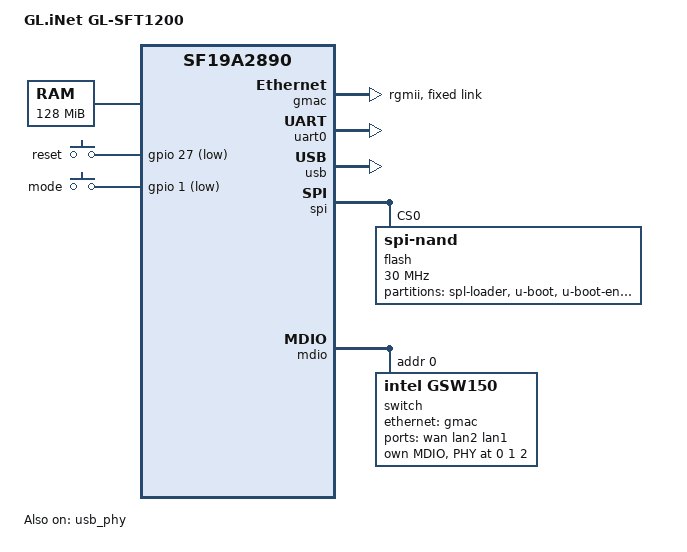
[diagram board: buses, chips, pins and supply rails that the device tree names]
// SPDX-License-Identifier: GPL-2.0-or-later OR MIT
/*
 * GL.iNet GL-SFT1200 (Opal): Siflower SF19A2890, 128 MiB RAM, 128 MiB SPI
 * NAND, a MaxLinear GSW150 switch on the GMAC's RGMII with one WAN and two
 * LAN ports, USB 2.0.
 *
 * The flash map, MACs, ports and buttons are a unit's, harvested from GL's
 * firmware 4.8.3. The switch binding is Hans Ulli Kroll's
 * sf19a2890_glinet-sft1200.dts, reported working on a unit booted from
 * initramfs, at SMI address 0 as GL's driver reaches it.
 *
 * The RGMII link between the GMAC and switch port 5 has both of its delays on
 * the SoC side, from the factory partition, as GL's driver programs them; GL's
 * switch driver clears port 5's own delays (PCDU 0xF101 reads 0 on a running
 * unit). Port 5 says so outright, below, because its phy-mode alone would not:
 * lantiq_gswip gives a CPU port in plain "rgmii" a 2 ns delay each way.
 */

/dts-v1/;

#include <dt-bindings/input/input.h>
#include <dt-bindings/leds/common.h>
#include "sf19a2890.dtsi"

/ {
	model = "GL.iNet GL-SFT1200";
	compatible = "glinet,gl-sft1200", "siflower,sf19a2890";

	aliases {
		serial0 = &uart0;
		label-mac-device = &gmac;
	};

	chosen {
		stdout-path = "serial0:115200n8";
	};

	memory@0 {
		device_type = "memory";
		reg = <0x0 0x8000000>;
	};

	keys {
		compatible = "gpio-keys";

		reset {
			label = "reset";
			gpios = <&gpio 27 GPIO_ACTIVE_LOW>;
			linux,code = <KEY_RESTART>;
		};

		/* The slide switch on the side. */
		mode {
			label = "mode";
			gpios = <&gpio 1 GPIO_ACTIVE_LOW>;
			linux,code = <BTN_0>;
			linux,input-type = <EV_SW>;
		};
	};
};

/*
 * The conduit and the WAN port take the factory base address, the one on the
 * label, and each LAN port the next one, as GL's firmware has eth0 and its LAN.
 * ParkezeOS derives a gateway's serial and EUI from eth0, so they are the
 * label's MAC.
 */
&gmac {
	nvmem-cells = <&macaddr_factory_0 0>, <&rgmii_delay>;
	nvmem-cell-names = "mac-address", "rgmii-delay";

	status = "okay";
	phy-mode = "rgmii";
	snps,ps-speed = <1000>;

	/*
	 * stmmac reads these without the "snps," prefix. Without them its TX
	 * FIFO size is 0, every MTU change is refused, and DSA cannot reserve
	 * room for its tag on the conduit.
	 */
	tx-fifo-depth = <4096>;
	rx-fifo-depth = <4096>;

	fixed-link {
		speed = <1000>;
		full-duplex;
		pause;
	};
};

&uart0 {
	status = "okay";
};

&usb {
	status = "okay";
};

&usb_phy {
	status = "okay";
};

&spi {
	status = "okay";

	flash@0 {
		compatible = "spi-nand";
		reg = <0>;
		spi-max-frequency = <30000000>;

		partitions {
			compatible = "fixed-partitions";
			#address-cells = <1>;
			#size-cells = <1>;

			partition@0 {
				label = "spl-loader";
				reg = <0x0 0x20000>;
				read-only;
			};

			partition@20000 {
				label = "u-boot";
				reg = <0x20000 0x60000>;
				read-only;
			};

			partition@80000 {
				label = "u-boot-env";
				reg = <0x80000 0x20000>;
			};

			partition@a0000 {
				label = "factory";
				reg = <0xa0000 0x20000>;
				read-only;

				nvmem-layout {
					compatible = "fixed-layout";
					#address-cells = <1>;
					#size-cells = <1>;

					macaddr_factory_0: macaddr@0 {
						compatible = "mac-base";
						reg = <0x0 0x6>;
						#nvmem-cell-cells = <1>;
					};

					/* "110a" on the harvested unit: TX 0x11, RX 0x0a. */
					rgmii_delay: rgmii-delay@b2 {
						reg = <0xb2 0x4>;
					};
				};
			};

			/*
			 * GL's firmware partition: a raw kernel at 0xc0000 in a
			 * 4 MiB slot, then UBI. U-Boot reads only the first 3 MiB
			 * of the slot, which the image recipe enforces.
			 */
			partition@c0000 {
				label = "kernel";
				reg = <0xc0000 0x400000>;
			};

			partition@4c0000 {
				label = "ubi";
				reg = <0x4c0000 0x7940000>;
			};

			/*
			 * GL's mtdoops log. The 1.75 MiB after it is mapped by
			 * nothing in GL's firmware, and is left alone here too.
			 */
			partition@7e00000 {
				label = "log";
				reg = <0x7e00000 0x40000>;
			};
		};
	};
};

&mdio {
	#address-cells = <1>;
	#size-cells = <0>;

	switch@0 {
		compatible = "intel,gsw150";
		reg = <0x0>;

		ports {
			#address-cells = <1>;
			#size-cells = <0>;

			port@0 {
				reg = <0>;
				label = "wan";
				phy-handle = <&switchphy0>;
				phy-mode = "internal";
				nvmem-cells = <&macaddr_factory_0 0>;
				nvmem-cell-names = "mac-address";
			};

			/* The jack beside WAN, which GL's firmware calls LAN 2. */
			port@1 {
				reg = <1>;
				label = "lan2";
				phy-handle = <&switchphy1>;
				phy-mode = "internal";
				nvmem-cells = <&macaddr_factory_0 1>;
				nvmem-cell-names = "mac-address";
			};

			/* The jack at the end, away from WAN: GL's LAN 1. */
			port@2 {
				reg = <2>;
				label = "lan1";
				phy-handle = <&switchphy2>;
				phy-mode = "internal";
				nvmem-cells = <&macaddr_factory_0 1>;
				nvmem-cell-names = "mac-address";
			};

			/*
			 * "rgmii-id": the GMAC's side supplies the delays, so the
			 * switch adds none, which the zero delays make certain.
			 */
			port@5 {
				reg = <5>;
				phy-mode = "rgmii-id";
				rx-internal-delay-ps = <0>;
				tx-internal-delay-ps = <0>;
				ethernet = <&gmac>;

				fixed-link {
					speed = <1000>;
					full-duplex;
				};
			};
		};

		mdio {
			#address-cells = <1>;
			#size-cells = <0>;

			switchphy0: ethernet-phy@0 {
				reg = <0>;
			};

			switchphy1: ethernet-phy@1 {
				reg = <1>;
			};

			switchphy2: ethernet-phy@2 {
				reg = <2>;
			};
		};
	};
};
